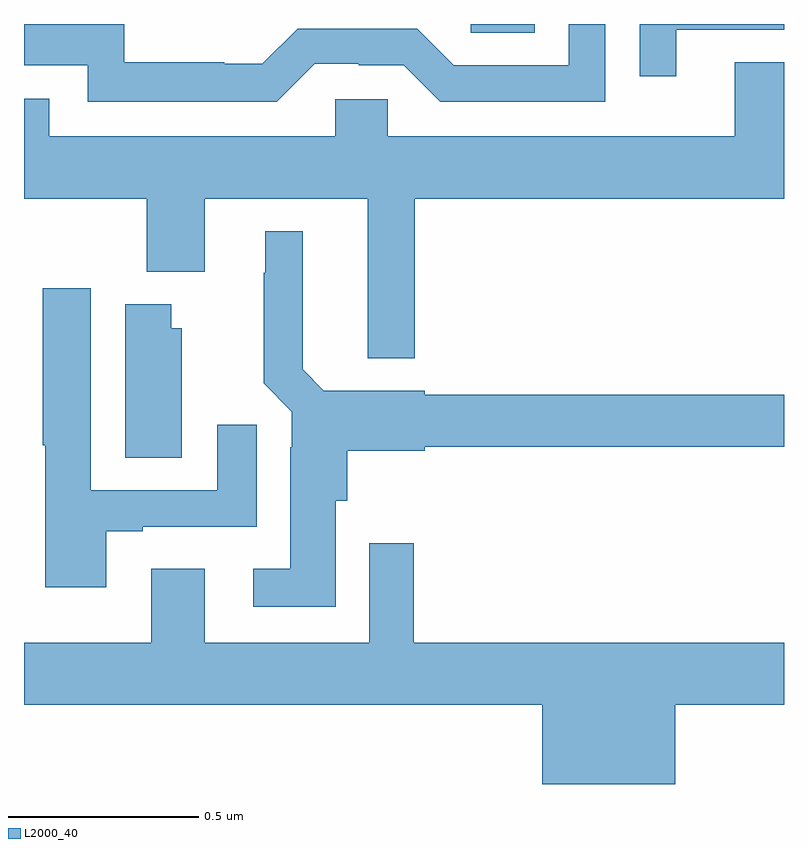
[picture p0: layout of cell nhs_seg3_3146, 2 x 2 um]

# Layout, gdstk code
import gdstk
lib = gdstk.Library(unit=1e-6, precision=1e-09)
def R(c, l, rs):  # rectangles x0, y0, x1, y1
    for r in rs: c.add(gdstk.rectangle(r[:2], r[2:], *l))
def P(c, l, *ps):  # polygons
    for p in ps: c.add(gdstk.Polygon(p, *l))
L2000_40 = (2000, 40)

nhs_seg3_3146 = lib.new_cell('nhs_seg3_3146')
R(nhs_seg3_3146, L2000_40, [(151.176,677.377,151.344,677.4)])
P(nhs_seg3_3146, L2000_40, [(151.717,677.385),(152,677.385),(152,677.4),(151.621,677.4),(151.621,677.262),(151.717,677.262)],
  [(150.765,677.295),(150.881,677.295),(150.881,677.292),(150.999,677.292),(151.095,677.196),(151.53,677.196),(151.53,677.4),(151.434,677.4),(151.434,677.292),(151.131,677.292),(151.035,677.388),(150.72,677.388),(150.627,677.295),(150.527,677.295),(150.527,677.299),(150.264,677.299),(150.264,677.4),(150,677.4),(150,677.292),(150.168,677.292),(150.168,677.195),(150.665,677.195)],
  [(151.028,676.94),(152,676.94),(152,677.299),(151.871,677.299),(151.871,677.104),(150.957,677.104),(150.957,677.202),(150.819,677.202),(150.819,677.104),(150.067,677.104),(150.067,677.203),(150,677.203),(150,676.94),(150.323,676.94),(150.323,676.748),(150.475,676.748),(150.475,676.94),(150.905,676.94),(150.905,676.52),(151.028,676.52)],
  [(150.82,676.146),(150.851,676.146),(150.851,676.277),(151.054,676.277),(151.054,676.288),(152,676.288),(152,676.424),(151.054,676.424),(151.054,676.435),(150.789,676.435),(150.733,676.492),(150.733,676.855),(150.635,676.855),(150.635,676.745),(150.631,676.745),(150.631,676.454),(150.705,676.38),(150.705,676.286),(150.701,676.286),(150.701,675.967),(150.603,675.967),(150.603,675.866),(150.82,675.866)],
  [(150.217,676.065),(150.313,676.065),(150.313,676.077),(150.613,676.077),(150.613,676.345),(150.509,676.345),(150.509,676.173),(150.175,676.173),(150.175,676.705),(150.049,676.705),(150.049,676.291),(150.056,676.291),(150.056,675.918),(150.217,675.918)],
  [(150.415,676.599),(150.388,676.599),(150.388,676.663),(150.266,676.663),(150.266,676.258),(150.415,676.258)],
  [(151.714,675.608),(152,675.608),(152,675.772),(151.025,675.772),(151.025,676.033),(150.909,676.033),(150.909,675.772),(150.475,675.772),(150.475,675.967),(150.335,675.967),(150.335,675.772),(150,675.772),(150,675.608),(151.364,675.608),(151.364,675.4),(151.714,675.4)])

lib.write_gds('nhs_seg3_3146.gds')
